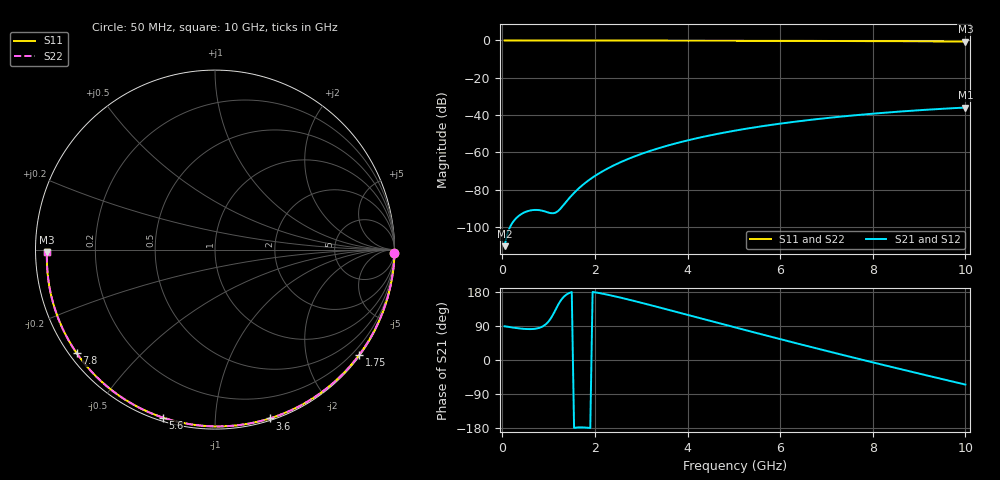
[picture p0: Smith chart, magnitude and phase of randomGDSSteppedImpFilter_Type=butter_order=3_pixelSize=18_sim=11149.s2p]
! freq	dB(S11)	phase(S11)	dB(S12)	phase(S12)
!  dB(S21)	phase(S21)	dB(S22)	phase(S22)
!S-par simulation data
#  GHz  S  DB  R 50
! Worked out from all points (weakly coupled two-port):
!   200 points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, 50 MHz to 10 GHz, reference 50 ohm
!   highest |S21| = -35.96 dB at 10 GHz (marker M1); lowest = -110.2 dB at 50 MHz (marker M2)
!   lowest |S11| = -0.6 dB at 10 GHz (marker M3), VSWR 30.31, Z = 1.65 - j0.342 ohm
!   |S11| at or under -10 dB: nowhere
!   |S22| runs from -0.6 to 0.0 dB; largest |S21 - S12| = 0
!   S11 on the Smith chart (normalised r, x): 50 MHz: open; 1.75 GHz: 0.03, -3.06; 3.6 GHz: 0.02, -1.38; 5.6 GHz: 0.02, -0.74; 7.8 GHz: 0.02, -0.33; 10 GHz: 0.03, -0.01
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0.05  -0.00 -1.1  -110.24 89.0  -110.24 89.0  -0.00 -1.1
0.4  -0.01 -8.4  -93.21 82.9  -93.21 82.9  -0.01 -8.4
0.8  -0.02 -16.8  -90.95 84.9  -90.95 84.9  -0.02 -16.8
1.6  -0.04 -33.2  -80.45 -178.3  -80.45 -178.3  -0.04 -33.2
1.65  -0.04 -34.2  -79.29 -177.8  -79.29 -177.8  -0.04 -34.2
1.75  -0.05 -36.2  -77.14 -177.9  -77.14 -177.9  -0.05 -36.2
2.05  -0.05 -42.2  -71.83 177.7  -71.83 177.7  -0.05 -42.2
2.25  -0.06 -46.2  -68.95 172.9  -68.95 172.9  -0.06 -46.2
2.45  -0.06 -50.1  -66.44 167.6  -66.44 167.6  -0.06 -50.1
2.9  -0.08 -58.8  -61.73 154.2  -61.73 154.2  -0.08 -58.8
3.4  -0.09 -68.3  -57.57 138.5  -57.57 138.5  -0.09 -68.3
3.6  -0.10 -72.0  -56.13 132.0  -56.13 132.0  -0.10 -72.0
4.3  -0.12 -84.7  -51.85 109.4  -51.85 109.4  -0.12 -84.7
5.05  -0.15 -97.9  -48.21 85.3  -48.21 85.3  -0.15 -97.9
5.6  -0.18 -107.2  -46.00 67.7  -46.00 67.7  -0.18 -107.2
6.15  -0.21 -116.4  -44.09 50.4  -44.09 50.4  -0.21 -116.4
6.7  -0.24 -125.4  -42.42 33.3  -42.42 33.3  -0.24 -125.4
7.25  -0.28 -134.3  -40.96 16.4  -40.96 16.4  -0.28 -134.3
7.8  -0.33 -143.1  -39.68 -0.3  -39.68 -0.3  -0.33 -143.1
8.35  -0.38 -151.9  -38.54 -16.7  -38.54 -16.7  -0.38 -151.9
9.2  -0.47 -165.8  -37.07 -41.7  -37.07 -41.7  -0.47 -165.8
10  -0.57 -179.2  -35.96 -64.8  -35.96 -64.8  -0.57 -179.2
